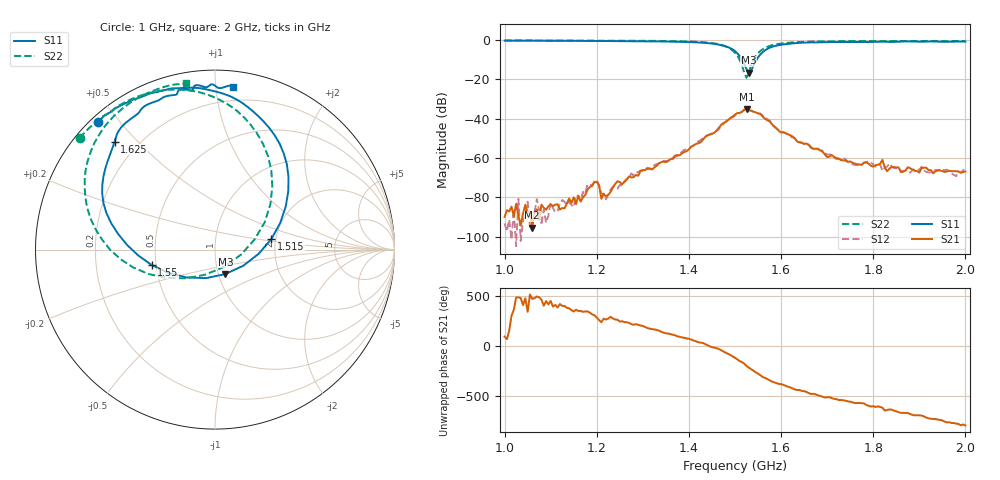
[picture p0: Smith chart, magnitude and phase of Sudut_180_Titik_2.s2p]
# Hz S RI R 50
! CMT, C1220, 16058040, 17.2.0/1
! Date: 14/08/2018 12:47:33
! Data: Format (Calibration Info)
! Freq  S11: Re/Im (F2)  S21: Re/Im (F2)  S12: Re/Im (F2)  S22: Re/Im (F2)
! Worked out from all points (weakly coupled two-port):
!   201 points, 1 GHz to 2 GHz, reference 50 ohm
!   highest |S21| = -35.02 dB at 1.525 GHz (marker M1); lowest = -95.4 dB at 1.06 GHz (marker M2)
!   lowest |S11| = -16.6 dB at 1.53 GHz (marker M3), VSWR 1.35, Z = 54 - j15 ohm
!   |S11| at or under -10 dB: 1.515 GHz to 1.547 GHz (31.72 MHz wide, 2.07 % of centre)
!   |S22| runs from -19.3 to -0.2 dB; largest |S21 - S12| = 0.00079
!   S11 on the Smith chart (normalised r, x): 1 GHz: 0.02, +0.44; 1.515 GHz: 1.89, +0.25; 1.55 GHz: 0.47, -0.09; 1.625 GHz: 0.12, +0.43; 2 GHz: 0.10, +1.11
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1e9  -0.6516 0.7133  -1.09e-06 3.19e-05  -1.48e-05 1.62e-05  -0.7538 0.6214
1.06e9  -0.5943 0.7585  -6.13e-06 1.58e-05  -3.07e-05 4.18e-06  -0.7129 0.6657
1.17e9  -0.4814 0.8241  9.51e-05 -3.09e-05  0.000125 -5.71e-05  -0.6183 0.7466
1.2e9  -0.4394 0.8406  5.99e-05 -0.000241  3.5e-05 -0.000272  -0.5851 0.7599
1.21e9  -0.4297 0.8436  -5.09e-05 -7.66e-05  -7.08e-05 -0.000103  -0.5808 0.7641
1.22e9  -0.4171 0.8481  -1.07e-05 -0.000104  3.35e-05 -8.25e-05  -0.5739 0.7739
1.245e9  -0.3719 0.8661  -3.65e-05 -0.000255  -3.85e-05 -0.000162  -0.5453 0.7957
1.335e9  -0.2192 0.8987  -0.000651 0.00035  -0.000613 0.000402  -0.4041 0.8614
1.45e9  0.1834 0.7936  0.00398 -0.000991  0.00404 -0.0013  0.0192 0.8376
1.5e9  0.4085 0.3269  -0.00649 -0.011  -0.00605 -0.0103  0.3193 0.3516
1.515e9  0.3139 0.0585  -0.0143 -0.00407  -0.0143 -0.00452  0.2212 0.0576
1.525e9  0.1573 -0.09  -0.0165 0.00663  -0.0167 0.0065  0.0525 -0.0954
1.53e9  0.0579 -0.1361  -0.0125 0.0105  -0.0126 0.0105  -0.0543 -0.1398
1.55e9  -0.352 -0.0863  0.00217 0.0135  0.00162 0.0136  -0.4553 -0.0998
1.58e9  -0.621 0.2575  0.00728 0.000114  0.00759 -0.000208  -0.7056 0.2111
1.625e9  -0.5596 0.6019  0.0013 -0.00329  0.0013 -0.00308  -0.7022 0.5168
1.67e9  -0.4456 0.7453  -0.00092 -0.00144  -0.000894 -0.0015  -0.6278 0.6675
1.765e9  -0.2526 0.8584  -0.000567 0.000401  -0.000575 0.000336  -0.4795 0.813
1.82e9  -0.172 0.8926  -0.000112 0.000892  -0.000165 0.000442  -0.4014 0.8592
1.835e9  -0.1359 0.8865  9.57e-05 0.000526  0.000205 0.000697  -0.3815 0.8694
1.98e9  0.0737 0.9124  0.000218 -0.00041  0.000157 -0.00031  -0.1836 0.9211
2e9  0.1016 0.9063  7.44e-05 -0.000451  7.6e-05 -0.000563  -0.1597 0.9299
